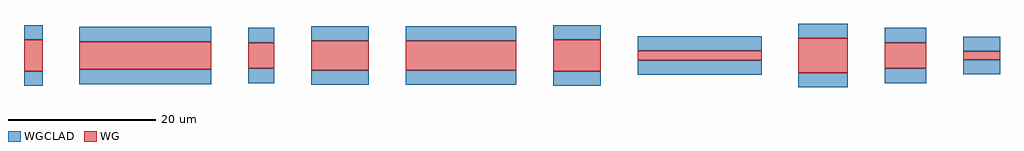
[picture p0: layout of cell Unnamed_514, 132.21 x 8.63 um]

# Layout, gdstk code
import gdstk
lib = gdstk.Library(unit=1e-6, precision=1e-09)
def R(c, l, rs):  # rectangles x0, y0, x1, y1
    for r in rs: c.add(gdstk.rectangle(r[:2], r[2:], *l))
WG = (1, 0)
WGCLAD = (111, 0)

straight_w3458_l5600_lwg = lib.new_cell('straight_W3458_L5600_LWG_EWGSTD')
R(straight_w3458_l5600_lwg, WG, [(0,-1.729,5.6,1.729)])
R(straight_w3458_l5600_lwg, WGCLAD, [(0,-3.729,5.6,-1.729), (0,1.729,5.6,3.729)])

straight_w4626_l6711_lwg = lib.new_cell('straight_W4626_L6711_LWG_EWGSTD')
R(straight_w4626_l6711_lwg, WG, [(0,-2.313,6.711,2.313)])
R(straight_w4626_l6711_lwg, WGCLAD, [(0,-4.313,6.711,-2.313), (0,2.313,6.711,4.313)])

straight_w1272_l16776_lw = lib.new_cell('straight_W1272_L16776_LWG_EWGSTD')
R(straight_w1272_l16776_lw, WG, [(0,-0.636,16.776,0.636)])
R(straight_w1272_l16776_lw, WGCLAD, [(0,-2.636,16.776,-0.636), (0,0.636,16.776,2.636)])

straight_w4210_l6440_lwg = lib.new_cell('straight_W4210_L6440_LWG_EWGSTD')
R(straight_w4210_l6440_lwg, WG, [(0,-2.105,6.44,2.105)])
R(straight_w4210_l6440_lwg, WGCLAD, [(0,-4.105,6.44,-2.105), (0,2.105,6.44,4.105)])

straight_w3932_l14974_lw = lib.new_cell('straight_W3932_L14974_LWG_EWGSTD')
R(straight_w3932_l14974_lw, WG, [(0,-1.966,14.974,1.966)])
R(straight_w3932_l14974_lw, WGCLAD, [(0,-3.966,14.974,-1.966), (0,1.966,14.974,3.966)])

straight_w3980_l7814_lwg = lib.new_cell('straight_W3980_L7814_LWG_EWGSTD')
R(straight_w3980_l7814_lwg, WG, [(0,-1.99,7.814,1.99)])
R(straight_w3980_l7814_lwg, WGCLAD, [(0,-3.99,7.814,-1.99), (0,1.99,7.814,3.99)])

straight_w3504_l3521_lwg = lib.new_cell('straight_W3504_L3521_LWG_EWGSTD')
R(straight_w3504_l3521_lwg, WG, [(0,-1.752,3.521,1.752)])
R(straight_w3504_l3521_lwg, WGCLAD, [(0,-3.752,3.521,-1.752), (0,1.752,3.521,3.752)])

straight_w3770_l17867_lw = lib.new_cell('straight_W3770_L17867_LWG_EWGSTD')
R(straight_w3770_l17867_lw, WG, [(0,-1.885,17.867,1.885)])
R(straight_w3770_l17867_lw, WGCLAD, [(0,-3.885,17.867,-1.885), (0,1.885,17.867,3.885)])

straight_w1106_l4997_lwg = lib.new_cell('straight_W1106_L4997_LWG_EWGSTD')
R(straight_w1106_l4997_lwg, WG, [(0,-0.553,4.997,0.553)])
R(straight_w1106_l4997_lwg, WGCLAD, [(0,-2.553,4.997,-0.553), (0,0.553,4.997,2.553)])

straight_w4234_l2513_lwg = lib.new_cell('straight_W4234_L2513_LWG_EWGSTD')
R(straight_w4234_l2513_lwg, WG, [(0,-2.117,2.513,2.117)])
R(straight_w4234_l2513_lwg, WGCLAD, [(0,-4.117,2.513,-2.117), (0,2.117,2.513,4.117)])

unnamed_514 = lib.new_cell('Unnamed_514')
unnamed_514.add(gdstk.Reference(straight_w3458_l5600_lwg, (121.616,9.313)))
unnamed_514.add(gdstk.Reference(straight_w4626_l6711_lwg, (109.905,9.313)))
unnamed_514.add(gdstk.Reference(straight_w1272_l16776_lw, (88.129,9.313)))
unnamed_514.add(gdstk.Reference(straight_w4210_l6440_lwg, (76.689,9.313)))
unnamed_514.add(gdstk.Reference(straight_w3932_l14974_lw, (56.715,9.313)))
unnamed_514.add(gdstk.Reference(straight_w3980_l7814_lwg, (43.901,9.313)))
unnamed_514.add(gdstk.Reference(straight_w3504_l3521_lwg, (35.38,9.313)))
unnamed_514.add(gdstk.Reference(straight_w3770_l17867_lw, (12.513,9.313)))
unnamed_514.add(gdstk.Reference(straight_w1106_l4997_lwg, (132.216,9.313)))
unnamed_514.add(gdstk.Reference(straight_w4234_l2513_lwg, (5,9.313)))

lib.write_gds('Unnamed_514.gds')
